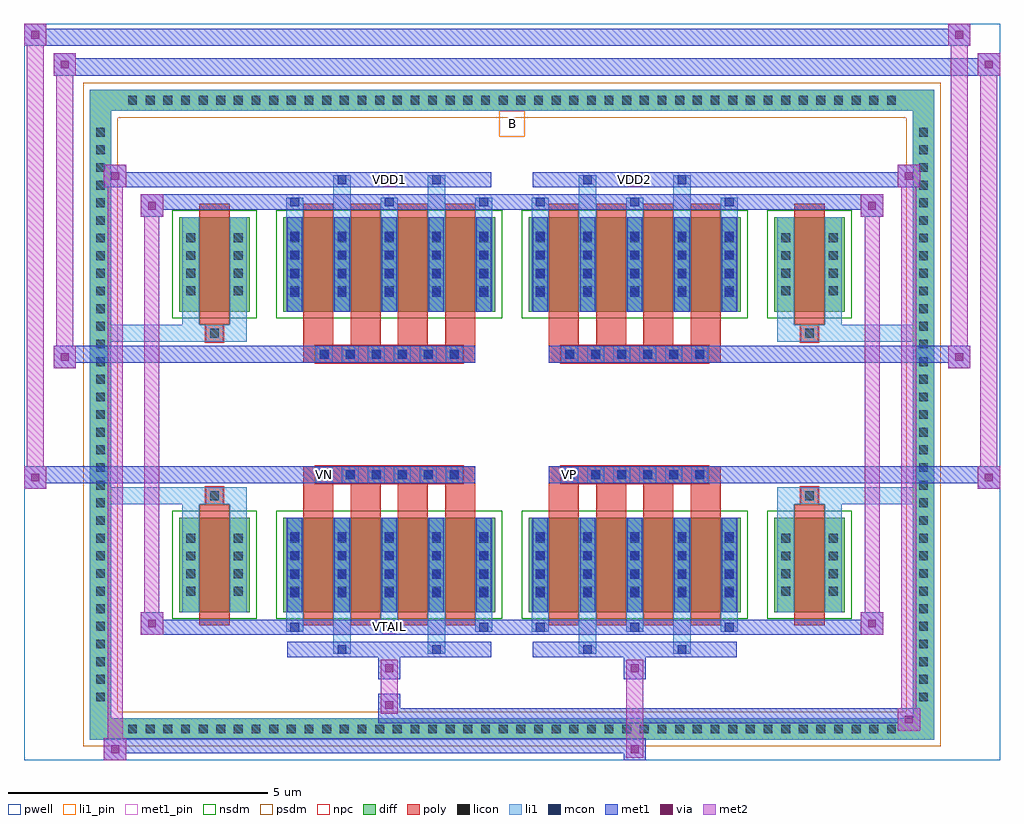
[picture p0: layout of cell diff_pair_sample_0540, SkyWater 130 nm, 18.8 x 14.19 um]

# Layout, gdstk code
import gdstk
lib = gdstk.Library(unit=1e-6, precision=5e-09)
def R(c, l, rs):  # rectangles x0, y0, x1, y1
    for r in rs: c.add(gdstk.rectangle(r[:2], r[2:], *l))
def A(c, l, x, y, w, h, nx, ny, dx, dy):  # array of equal rectangles
    R(c, l, [(x+i*dx, y+j*dy, x+i*dx+w, y+j*dy+h) for i in range(nx) for j in range(ny)])
def P(c, l, *ps):  # polygons
    for p in ps: c.add(gdstk.Polygon(p, *l))
pwell = (64, 44)
diff = (65, 20)
poly = (66, 20)
licon = (66, 44)
li1_pin = (67, 16)
li1 = (67, 20)
mcon = (67, 44)
met1_pin = (68, 16)
met1 = (68, 20)
via = (68, 44)
met2 = (69, 20)
nsdm = (93, 44)
psdm = (94, 20)
npc = (95, 20)

diff_pair_sample_0540 = lib.new_cell('diff_pair_sample_0540')
R(diff_pair_sample_0540, pwell, [(-9.4,-6.66,9.4,7.53), (-6.72,-4.85,-0.01,-0.795), (0.01,-4.85,6.72,-0.795), (-6.72,0.795,-0.01,4.85), (0.01,0.795,6.72,4.85)])
A(diff_pair_sample_0540, diff, -7.515, -6.26, 0.41, 0.41, 44, 2, 0.34, 12.11)
A(diff_pair_sample_0540, diff, -8.13, -5.645, 0.41, 0.41, 1, 33, 0, 0.34)
A(diff_pair_sample_0540, diff, 7.72, -5.645, 0.41, 0.41, 1, 33, 0, 0.34)
R(diff_pair_sample_0540, diff, [(-7.515,-6.26,7.515,-5.85), (-8.13,-5.645,-7.72,5.645), (7.72,-5.645,8.13,5.645), (-6.41,-3.805,-5.05,-1.985), (-4.41,-3.805,-0.32,-1.985), (0.32,-3.805,4.41,-1.985), (5.05,-3.805,6.41,-1.985), (-6.41,1.985,-5.05,3.805), (-4.41,1.985,-0.32,3.805), (0.32,1.985,4.41,3.805), (5.05,1.985,6.41,3.805), (-7.515,5.85,7.515,6.26)])
P(diff_pair_sample_0540, diff, [(8.13,6.26),(-8.13,6.26),(-8.13,-5.85),(-7.72,-5.85),(-7.72,5.85),(7.72,5.85),(7.72,-5.85),(-7.72,-5.85),(-8.13,-5.85),(-8.13,-6.26),(8.13,-6.26)])
A(diff_pair_sample_0540, poly, -4.02, -4.06, 0.58, 2.33, 4, 2, 0.91, 5.79)
A(diff_pair_sample_0540, poly, 0.71, -4.06, 0.58, 2.33, 4, 2, 0.91, 5.79)
A(diff_pair_sample_0540, poly, -4.02, -1.73, 0.58, 0.405, 4, 2, 0.91, 3.055)
A(diff_pair_sample_0540, poly, 0.71, -1.73, 0.58, 0.405, 4, 2, 0.91, 3.055)
A(diff_pair_sample_0540, poly, -3.78, -1.325, 0.33, 0.33, 6, 2, 0.5, 2.32)
A(diff_pair_sample_0540, poly, 0.95, -1.325, 0.33, 0.33, 6, 2, 0.5, 2.32)
R(diff_pair_sample_0540, poly, [(-6.02,-4.06,-5.44,-1.73), (5.44,-4.06,6.02,-1.73), (-5.895,-1.73,-5.565,-1.4), (-5.895,-1.73,-5.565,-1.4), (5.565,-1.73,5.895,-1.4), (5.565,-1.73,5.895,-1.4), (-4.02,-1.325,-0.71,-0.995), (0.71,-1.325,4.02,-0.995), (-4.02,0.995,-0.71,1.325), (0.71,0.995,4.02,1.325), (-5.895,1.4,-5.565,1.73), (-5.895,1.4,-5.565,1.73), (5.565,1.4,5.895,1.73), (5.565,1.4,5.895,1.73), (-6.02,1.73,-5.44,4.06), (5.44,1.73,6.02,4.06)])
A(diff_pair_sample_0540, licon, -7.395, -6.14, 0.17, 0.17, 44, 2, 0.34, 12.11)
A(diff_pair_sample_0540, licon, -8.01, -5.525, 0.17, 0.17, 1, 33, 0, 0.34)
A(diff_pair_sample_0540, licon, 7.84, -5.525, 0.17, 0.17, 1, 33, 0, 0.34)
A(diff_pair_sample_0540, licon, -6.27, -3.49, 0.17, 0.17, 1, 4, 0, 0.34)
A(diff_pair_sample_0540, licon, -5.36, -3.49, 0.17, 0.17, 1, 4, 0, 0.34)
A(diff_pair_sample_0540, licon, -4.27, -3.49, 0.17, 0.17, 5, 4, 0.91, 0.34)
A(diff_pair_sample_0540, licon, 0.46, -3.49, 0.17, 0.17, 5, 4, 0.91, 0.34)
A(diff_pair_sample_0540, licon, 5.19, -3.49, 0.17, 0.17, 1, 4, 0, 0.34)
A(diff_pair_sample_0540, licon, 6.1, -3.49, 0.17, 0.17, 1, 4, 0, 0.34)
A(diff_pair_sample_0540, licon, -3.7, -1.245, 0.17, 0.17, 6, 2, 0.5, 2.32)
A(diff_pair_sample_0540, licon, 1.03, -1.245, 0.17, 0.17, 6, 2, 0.5, 2.32)
A(diff_pair_sample_0540, licon, -6.27, 2.3, 0.17, 0.17, 1, 4, 0, 0.34)
A(diff_pair_sample_0540, licon, -5.36, 2.3, 0.17, 0.17, 1, 4, 0, 0.34)
A(diff_pair_sample_0540, licon, -4.27, 2.3, 0.17, 0.17, 5, 4, 0.91, 0.34)
A(diff_pair_sample_0540, licon, 0.46, 2.3, 0.17, 0.17, 5, 4, 0.91, 0.34)
A(diff_pair_sample_0540, licon, 5.19, 2.3, 0.17, 0.17, 1, 4, 0, 0.34)
A(diff_pair_sample_0540, licon, 6.1, 2.3, 0.17, 0.17, 1, 4, 0, 0.34)
R(diff_pair_sample_0540, licon, [(-5.815,-1.65,-5.645,-1.48), (5.645,-1.65,5.815,-1.48), (-5.815,1.48,-5.645,1.65), (5.645,1.48,5.815,1.65)])
R(diff_pair_sample_0540, li1_pin, [(-0.25,5.35,0.25,5.85)])
A(diff_pair_sample_0540, li1, -7.475, -6.22, 0.33, 0.33, 44, 2, 0.34, 12.11)
A(diff_pair_sample_0540, li1, -8.09, -5.605, 0.33, 0.33, 1, 33, 0, 0.34)
A(diff_pair_sample_0540, li1, 7.76, -5.605, 0.33, 0.33, 1, 33, 0, 0.34)
A(diff_pair_sample_0540, li1, -4.35, -4.18, 0.33, 0.375, 3, 2, 1.82, 7.985)
A(diff_pair_sample_0540, li1, -4.27, -4.18, 0.17, 0.17, 3, 2, 1.82, 8.19)
A(diff_pair_sample_0540, li1, 0.38, -4.18, 0.33, 0.375, 3, 2, 1.82, 7.985)
A(diff_pair_sample_0540, li1, 0.46, -4.18, 0.17, 0.17, 3, 2, 1.82, 8.19)
A(diff_pair_sample_0540, li1, -4.35, -3.805, 0.33, 1.82, 5, 2, 0.91, 5.79)
A(diff_pair_sample_0540, li1, 0.38, -3.805, 0.33, 1.82, 5, 2, 0.91, 5.79)
A(diff_pair_sample_0540, li1, -6.35, -3.57, 0.33, 0.33, 1, 4, 0, 0.34)
A(diff_pair_sample_0540, li1, -5.44, -3.57, 0.33, 0.33, 1, 4, 0, 0.34)
A(diff_pair_sample_0540, li1, -4.35, -3.57, 0.33, 0.33, 5, 4, 0.91, 0.34)
A(diff_pair_sample_0540, li1, 0.38, -3.57, 0.33, 0.33, 5, 4, 0.91, 0.34)
A(diff_pair_sample_0540, li1, 5.11, -3.57, 0.33, 0.33, 1, 4, 0, 0.34)
A(diff_pair_sample_0540, li1, 6.02, -3.57, 0.33, 0.33, 1, 4, 0, 0.34)
A(diff_pair_sample_0540, li1, -4.27, -3.52, 0.17, 0.17, 5, 4, 0.91, 0.36)
A(diff_pair_sample_0540, li1, -4.27, -3.52, 0.17, 1.25, 5, 2, 0.91, 5.79)
A(diff_pair_sample_0540, li1, 0.46, -3.52, 0.17, 0.17, 5, 4, 0.91, 0.36)
A(diff_pair_sample_0540, li1, 0.46, -3.52, 0.17, 1.25, 5, 2, 0.91, 5.79)
A(diff_pair_sample_0540, li1, -3.78, -1.325, 0.33, 0.33, 6, 2, 0.5, 2.32)
A(diff_pair_sample_0540, li1, 0.95, -1.325, 0.33, 0.33, 6, 2, 0.5, 2.32)
A(diff_pair_sample_0540, li1, -6.35, 2.22, 0.33, 0.33, 1, 4, 0, 0.34)
A(diff_pair_sample_0540, li1, -5.44, 2.22, 0.33, 0.33, 1, 4, 0, 0.34)
A(diff_pair_sample_0540, li1, -4.35, 2.22, 0.33, 0.33, 5, 4, 0.91, 0.34)
A(diff_pair_sample_0540, li1, 0.38, 2.22, 0.33, 0.33, 5, 4, 0.91, 0.34)
A(diff_pair_sample_0540, li1, 5.11, 2.22, 0.33, 0.33, 1, 4, 0, 0.34)
A(diff_pair_sample_0540, li1, 6.02, 2.22, 0.33, 0.33, 1, 4, 0, 0.34)
A(diff_pair_sample_0540, li1, -4.27, 2.27, 0.17, 0.17, 5, 4, 0.91, 0.36)
A(diff_pair_sample_0540, li1, 0.46, 2.27, 0.17, 0.17, 5, 4, 0.91, 0.36)
R(diff_pair_sample_0540, li1, [(-8.13,-6.26,-7.72,-5.85), (-8.13,-6.26,-7.72,-5.85), (-7.72,-6.26,7.72,-5.85), (7.72,-6.26,8.13,-5.85), (7.72,-6.26,8.13,-5.85), (-8.13,-5.85,-7.72,5.85), (7.72,-5.85,8.13,5.85), (-3.44,-4.61,-3.11,-3.805), (-3.36,-4.61,-3.19,-4.44), (-1.62,-4.61,-1.29,-3.805), (-1.54,-4.61,-1.37,-4.44), (1.29,-4.61,1.62,-3.805), (1.37,-4.61,1.54,-4.44), (3.11,-4.61,3.44,-3.805), (3.19,-4.61,3.36,-4.44), (-6.35,-3.805,-6.02,-1.985), (-5.44,-3.805,-5.11,-1.985), (5.11,-3.805,5.44,-1.985), (6.02,-3.805,6.35,-1.985), (-6.35,-1.985,-6.02,-1.4), (-5.44,-1.985,-5.11,-1.4), (5.11,-1.985,5.44,-1.4), (6.02,-1.985,6.35,-1.4), (-8.13,-1.73,-5.895,-1.4), (-6.35,-1.73,-5.895,-1.4), (-5.895,-1.73,-5.565,-1.4), (-5.565,-1.73,-5.11,-1.4), (5.11,-1.73,5.565,-1.4), (5.565,-1.73,5.895,-1.4), (5.565,-1.73,8.13,-1.4), (5.895,-1.73,6.35,-1.4), (-8.13,1.4,-5.895,1.73), (-6.35,1.4,-5.895,1.73), (-6.35,1.4,-6.02,1.985), (-5.895,1.4,-5.565,1.73), (-5.565,1.4,-5.11,1.73), (-5.44,1.4,-5.11,1.985), (5.11,1.4,5.565,1.73), (5.11,1.4,5.44,1.985), (5.565,1.4,5.895,1.73), (5.565,1.4,8.13,1.73), (5.895,1.4,6.35,1.73), (6.02,1.4,6.35,1.985), (-6.35,1.985,-6.02,3.805), (-5.44,1.985,-5.11,3.805), (5.11,1.985,5.44,3.805), (6.02,1.985,6.35,3.805), (-3.44,3.805,-3.11,4.61), (-1.62,3.805,-1.29,4.61), (1.29,3.805,1.62,4.61), (3.11,3.805,3.44,4.61), (-3.36,4.44,-3.19,4.61), (-1.54,4.44,-1.37,4.61), (1.37,4.44,1.54,4.61), (3.19,4.44,3.36,4.61), (-8.13,5.85,-7.72,6.26), (-8.13,5.85,-7.72,6.26), (-7.72,5.85,7.72,6.26), (7.72,5.85,8.13,6.26), (7.72,5.85,8.13,6.26)])
A(diff_pair_sample_0540, mcon, -4.27, -4.18, 0.17, 0.17, 3, 2, 1.82, 8.19)
A(diff_pair_sample_0540, mcon, 0.46, -4.18, 0.17, 0.17, 3, 2, 1.82, 8.19)
A(diff_pair_sample_0540, mcon, -4.27, -3.52, 0.17, 0.17, 5, 4, 0.91, 0.36)
A(diff_pair_sample_0540, mcon, 0.46, -3.52, 0.17, 0.17, 5, 4, 0.91, 0.36)
A(diff_pair_sample_0540, mcon, -3.7, -1.245, 0.17, 0.17, 6, 2, 0.5, 2.32)
A(diff_pair_sample_0540, mcon, 1.03, -1.245, 0.17, 0.17, 6, 2, 0.5, 2.32)
A(diff_pair_sample_0540, mcon, -4.27, 2.27, 0.17, 0.17, 5, 4, 0.91, 0.36)
A(diff_pair_sample_0540, mcon, 0.46, 2.27, 0.17, 0.17, 5, 4, 0.91, 0.36)
R(diff_pair_sample_0540, mcon, [(-3.36,-4.61,-3.19,-4.44), (-1.54,-4.61,-1.37,-4.44), (1.37,-4.61,1.54,-4.44), (3.19,-4.61,3.36,-4.44), (-3.36,4.44,-3.19,4.61), (-1.54,4.44,-1.37,4.61), (1.37,4.44,1.54,4.61), (3.19,4.44,3.36,4.61)])
R(diff_pair_sample_0540, met1_pin, [(-2.5,-4.22,-2.23,-3.95), (-3.75,-1.285,-3.48,-1.015), (0.98,-1.285,1.25,-1.015), (-2.5,4.4,-2.23,4.67), (2.23,4.4,2.5,4.67)])
A(diff_pair_sample_0540, met1, -4.33, -4.24, 0.29, 0.29, 3, 2, 1.82, 8.19)
A(diff_pair_sample_0540, met1, 0.4, -4.24, 0.29, 0.29, 3, 2, 1.82, 8.19)
A(diff_pair_sample_0540, met1, -4.33, -3.805, 0.29, 1.82, 5, 2, 0.91, 5.79)
A(diff_pair_sample_0540, met1, 0.4, -3.805, 0.29, 1.82, 5, 2, 0.91, 5.79)
A(diff_pair_sample_0540, met1, -4.33, -3.58, 0.29, 0.29, 5, 4, 0.91, 0.36)
A(diff_pair_sample_0540, met1, 0.4, -3.58, 0.29, 0.29, 5, 4, 0.91, 0.36)
A(diff_pair_sample_0540, met1, -3.76, -1.305, 0.29, 0.29, 6, 2, 0.5, 2.32)
A(diff_pair_sample_0540, met1, 0.97, -1.305, 0.29, 0.29, 6, 2, 0.5, 2.32)
A(diff_pair_sample_0540, met1, -4.33, 2.21, 0.29, 0.29, 5, 4, 0.91, 0.36)
A(diff_pair_sample_0540, met1, 0.4, 2.21, 0.29, 0.29, 5, 4, 0.91, 0.36)
R(diff_pair_sample_0540, met1, [(-7.86,-6.66,-7.43,-6.23), (2.15,-6.66,2.58,-6.23), (-7.86,-6.52,2.58,-6.23), (7.43,-6.09,7.86,-5.66), (-2.58,-5.95,7.86,-5.66), (-2.58,-5.81,-2.15,-5.38), (-2.58,-5.1,-2.15,-4.67), (2.15,-5.1,2.58,-4.67), (-4.33,-4.67,-0.4,-4.38), (-3.42,-4.67,-3.13,-4.38), (-1.6,-4.67,-1.31,-4.38), (0.4,-4.67,4.33,-4.38), (1.31,-4.67,1.6,-4.38), (3.13,-4.67,3.42,-4.38), (-7.15,-4.24,-6.72,-3.81), (-7.15,-4.24,-4.33,-3.95), (-4.33,-4.24,-0.4,-3.95), (-0.4,-4.24,0.4,-3.95), (0.4,-4.24,4.33,-3.95), (4.33,-4.24,7.15,-3.95), (6.72,-4.24,7.15,-3.81), (-9.4,-1.425,-8.97,-0.995), (8.97,-1.425,9.4,-0.995), (-9.4,-1.325,-0.71,-0.995), (-4.02,-1.325,-0.71,-0.995), (0.71,-1.325,4.02,-0.995), (0.71,-1.325,9.4,-0.995), (-8.83,0.895,-8.4,1.325), (8.4,0.895,8.83,1.325), (-8.83,0.995,-4.02,1.325), (-4.02,0.995,-0.71,1.325), (0.71,0.995,4.02,1.325), (4.02,0.995,8.83,1.325), (-7.15,3.81,-6.72,4.24), (6.72,3.81,7.15,4.24), (-7.15,3.95,-4.33,4.24), (-4.33,3.95,-0.4,4.24), (-0.4,3.95,0.4,4.24), (0.4,3.95,4.33,4.24), (4.33,3.95,7.15,4.24), (-7.86,4.38,-7.43,4.81), (-7.86,4.38,-4.33,4.67), (-4.33,4.38,-0.4,4.67), (-3.42,4.38,-3.13,4.67), (-1.6,4.38,-1.31,4.67), (0.4,4.38,4.33,4.67), (1.31,4.38,1.6,4.67), (3.13,4.38,3.42,4.67), (4.33,4.38,7.86,4.67), (7.43,4.38,7.86,4.81), (-8.83,6.53,-8.4,6.96), (-8.83,6.53,-6.72,6.86), (-6.72,6.53,6.72,6.86), (6.72,6.53,9.4,6.86), (8.97,6.53,9.4,6.96), (-9.4,7.1,-8.97,7.53), (-9.4,7.1,-6.72,7.43), (-6.72,7.1,6.72,7.43), (6.72,7.1,8.83,7.43), (8.4,7.1,8.83,7.53)])
R(diff_pair_sample_0540, via, [(-7.72,-6.52,-7.57,-6.37), (2.29,-6.52,2.44,-6.37), (7.57,-5.95,7.72,-5.8), (-2.44,-5.67,-2.29,-5.52), (-2.44,-4.96,-2.29,-4.81), (2.29,-4.96,2.44,-4.81), (-7.01,-4.1,-6.86,-3.95), (6.86,-4.1,7.01,-3.95), (-9.26,-1.285,-9.11,-1.135), (9.11,-1.285,9.26,-1.135), (-8.69,1.035,-8.54,1.185), (8.54,1.035,8.69,1.185), (-7.01,3.95,-6.86,4.1), (6.86,3.95,7.01,4.1), (-7.72,4.52,-7.57,4.67), (7.57,4.52,7.72,4.67), (-8.69,6.67,-8.54,6.82), (9.11,6.67,9.26,6.82), (-9.26,7.24,-9.11,7.39), (8.54,7.24,8.69,7.39)])
R(diff_pair_sample_0540, met2, [(-7.86,-6.66,-7.43,-6.23), (-7.79,-6.66,-7.5,4.81), (-7.5,-6.66,-7.43,-6.23), (-7.81,-6.61,-7.48,-6.28), (2.2,-6.61,2.53,-6.28), (2.2,-6.28,2.53,-5.05), (7.43,-6.09,7.86,-5.66), (7.5,-6.09,7.79,4.81), (7.79,-6.09,7.86,-5.66), (7.48,-6.04,7.81,-5.71), (-2.53,-5.76,-2.2,-5.43), (-2.53,-5.43,-2.2,-5.05), (-2.53,-5.05,-2.2,-4.72), (2.2,-5.05,2.53,-4.72), (-7.15,-4.24,-6.72,-3.81), (-7.08,-4.24,-6.79,4.24), (-6.79,-4.24,-6.72,-3.81), (6.72,-4.24,7.15,-3.81), (6.79,-4.24,7.08,4.24), (7.08,-4.24,7.15,-3.81), (-7.1,-4.19,-6.77,-3.86), (6.77,-4.19,7.1,-3.86), (-9.4,-1.425,-8.97,-0.995), (-9.35,-1.425,-9.02,7.53), (-9.02,-1.425,-8.97,-0.995), (8.97,-1.425,9.4,-0.995), (9.02,-1.425,9.35,6.96), (9.35,-1.425,9.4,-0.995), (-9.35,-1.375,-9.02,-1.045), (9.02,-1.375,9.35,-1.045), (-8.83,0.895,-8.4,1.325), (-8.78,0.895,-8.45,6.96), (-8.45,0.895,-8.4,1.325), (8.4,0.895,8.83,1.325), (8.45,0.895,8.78,7.53), (8.78,0.895,8.83,1.325), (-8.78,0.945,-8.45,1.275), (8.45,0.945,8.78,1.275), (-7.15,3.81,-6.72,4.24), (-6.79,3.81,-6.72,4.24), (6.72,3.81,7.15,4.24), (7.08,3.81,7.15,4.24), (-7.1,3.86,-6.77,4.19), (6.77,3.86,7.1,4.19), (-7.86,4.38,-7.43,4.81), (-7.5,4.38,-7.43,4.81), (7.43,4.38,7.86,4.81), (7.79,4.38,7.86,4.81), (-7.81,4.43,-7.48,4.76), (7.48,4.43,7.81,4.76), (-8.83,6.53,-8.4,6.96), (-8.45,6.53,-8.4,6.96), (8.97,6.53,9.4,6.96), (9.35,6.53,9.4,6.96), (-8.78,6.58,-8.45,6.91), (9.02,6.58,9.35,6.91), (-9.4,7.1,-8.97,7.53), (-9.02,7.1,-8.97,7.53), (8.4,7.1,8.83,7.53), (8.78,7.1,8.83,7.53), (-9.35,7.15,-9.02,7.48), (8.45,7.15,8.78,7.48)])
R(diff_pair_sample_0540, nsdm, [(-6.54,-3.935,-4.92,-1.855), (-4.54,-3.935,-0.19,-1.855), (0.19,-3.935,4.54,-1.855), (4.92,-3.935,6.54,-1.855), (-6.54,1.855,-4.92,3.935), (-4.54,1.855,-0.19,3.935), (0.19,1.855,4.54,3.935), (4.92,1.855,6.54,3.935)])
P(diff_pair_sample_0540, psdm, [(8.26,6.39),(-8.26,6.39),(-8.26,-5.72),(-7.59,-5.72),(-7.59,5.72),(7.59,5.72),(7.59,-5.72),(-7.59,-5.72),(-8.26,-5.72),(-8.26,-6.39),(8.26,-6.39)])
A(diff_pair_sample_0540, npc, -3.8, -1.345, 0.37, 0.37, 6, 2, 0.5, 2.32)
A(diff_pair_sample_0540, npc, 0.93, -1.345, 0.37, 0.37, 6, 2, 0.5, 2.32)
R(diff_pair_sample_0540, npc, [(-5.915,-1.75,-5.545,-1.38), (5.545,-1.75,5.915,-1.38), (-3.8,-1.345,-2.93,-0.975), (-3.8,-1.345,-2.93,-0.975), (-3.3,-1.345,-2.43,-0.975), (-3.3,-1.345,-2.43,-0.975), (-2.8,-1.345,-1.93,-0.975), (-2.8,-1.345,-1.93,-0.975), (-2.3,-1.345,-1.43,-0.975), (-2.3,-1.345,-1.43,-0.975), (-1.8,-1.345,-0.93,-0.975), (-1.8,-1.345,-0.93,-0.975), (0.93,-1.345,1.8,-0.975), (0.93,-1.345,1.8,-0.975), (1.43,-1.345,2.3,-0.975), (1.43,-1.345,2.3,-0.975), (1.93,-1.345,2.8,-0.975), (1.93,-1.345,2.8,-0.975), (2.43,-1.345,3.3,-0.975), (2.43,-1.345,3.3,-0.975), (2.93,-1.345,3.8,-0.975), (2.93,-1.345,3.8,-0.975), (-3.8,0.975,-2.93,1.345), (-3.8,0.975,-2.93,1.345), (-3.3,0.975,-2.43,1.345), (-3.3,0.975,-2.43,1.345), (-2.8,0.975,-1.93,1.345), (-2.8,0.975,-1.93,1.345), (-2.3,0.975,-1.43,1.345), (-2.3,0.975,-1.43,1.345), (-1.8,0.975,-0.93,1.345), (-1.8,0.975,-0.93,1.345), (0.93,0.975,1.8,1.345), (0.93,0.975,1.8,1.345), (1.43,0.975,2.3,1.345), (1.43,0.975,2.3,1.345), (1.93,0.975,2.8,1.345), (1.93,0.975,2.8,1.345), (2.43,0.975,3.3,1.345), (2.43,0.975,3.3,1.345), (2.93,0.975,3.8,1.345), (2.93,0.975,3.8,1.345), (-5.915,1.38,-5.545,1.75), (5.545,1.38,5.915,1.75)])
diff_pair_sample_0540.add(gdstk.Label('VTAIL', (-2.365,-4.085), layer=68, texttype=5))
diff_pair_sample_0540.add(gdstk.Label('VN', (-3.615,-1.15), layer=68, texttype=5))
diff_pair_sample_0540.add(gdstk.Label('VP', (1.115,-1.15), layer=68, texttype=5))
diff_pair_sample_0540.add(gdstk.Label('B', (0,5.6), layer=67, texttype=5))
diff_pair_sample_0540.add(gdstk.Label('VDD2', (2.365,4.535), layer=68, texttype=5))
diff_pair_sample_0540.add(gdstk.Label('VDD1', (-2.365,4.535), layer=68, texttype=5))

lib.write_gds('diff_pair_sample_0540.gds')
